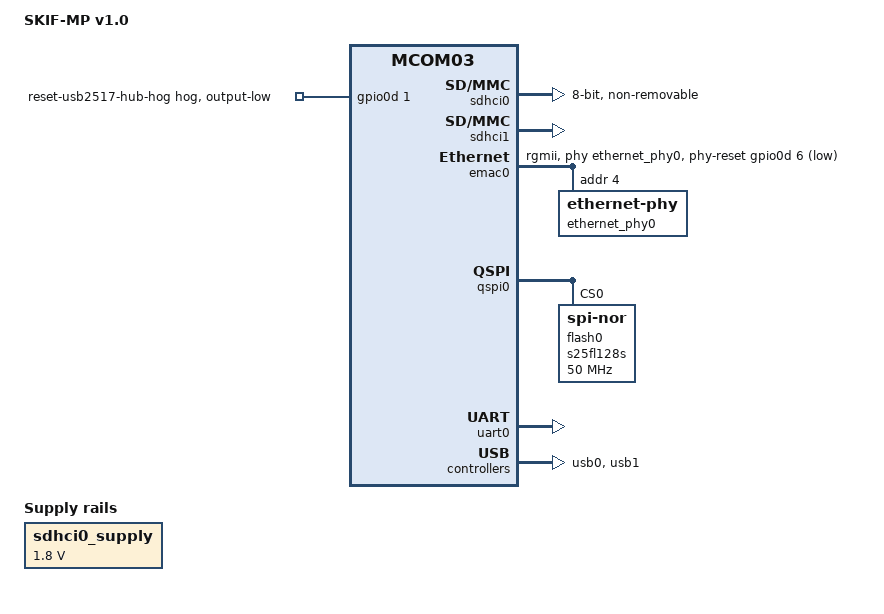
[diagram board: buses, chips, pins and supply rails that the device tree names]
// SPDX-License-Identifier: GPL-2.0+
/*
 * Copyright 2023 RnD Center "ELVEES", JSC
 */

/dts-v1/;

#include <dt-bindings/gpio/gpio.h>
#include <dt-bindings/net/ti-dp83867.h>

#include "mcom03.dtsi"

/ {
	model = "SKIF-MP v1.0";
	compatible = "elvees,skifmp-v1.0",
		     "elvees,skifmp",
		     "elvees,mcom03";

	sdhci0_supply: regulator@0 {
		compatible = "regulator-fixed";
		regulator-name = "sdhci0-supply";
		regulator-min-microvolt = <1800000>;
		regulator-max-microvolt = <1800000>;
		regulator-always-on;
	};

	chosen {
		stdout-path = "serial0:115200n8";
	};
};

&gpio0d {
	reset-usb2517-hub-hog {
		gpio-hog;
		gpios = <1 GPIO_ACTIVE_HIGH>;
		output-low;
	};
};

/* Connected to eMMC */
&sdhci0 {
	status = "okay";

	non-removable;
	bus-width = <8>;

	vqmmc-supply = <&sdhci0_supply>;
};

/* Connected to MicroSD card */
&sdhci1 {
	status = "okay";

	max-frequency = <12000000>;

	/* Disable High Speed support
	 * Disable 1.8V support
	 * Disable SDR50, SDR104 and DDR50 support
	 */
	sdhci-caps-mask = <0x7 0x4200000>;
	sdhci-caps = <0x0 0x0>;

	disable-wp;
};

/* Connected to RJ-45 */
&emac0 {
	status = "okay";

	phy-mode = "rgmii";
	phy-handle = <&ethernet_phy0>;
	clocks = <&eth_bus_clk>;
	phy-reset-gpios = <&gpio0d 6 GPIO_ACTIVE_LOW>;
	elvees,pads-1v8-en;

	/* TODO: Remove this extra PHY reset cycle.
	 * DP83867 has to be reset twice on this module.
	 * The reason is currently unknown.
	 */
	elvees,extra-phy-reset-cycle;

	ethernet_phy0: ethernet-phy@4 {
		reg = <0x4>;
		ti,rx-internal-delay = <DP83867_RGMIIDCTL_2_00_NS>;
		ti,tx-internal-delay = <DP83867_RGMIIDCTL_2_00_NS>;
		ti,fifo-depth = <DP83867_PHYCR_FIFO_DEPTH_4_B_NIB>;
	};
};

&qspi0 {
	status = "okay";

	flash0: s25fl128s@0 {
		#address-cells = <1>;
		#size-cells = <1>;
		compatible = "jedec,spi-nor", "spi-flash";
		reg = <0x0>;
		/* This is the highest frequency at which all commands are
		 * supported by the flash device.
		 */
		spi-max-frequency = <50000000>;

		spi-tx-bus-width = <4>;
		spi-rx-bus-width = <4>;
	};
};

/* Connected to Raspberry Pi header */
&uart0 {
	status = "okay";
	clock-frequency = <27920454>;
};

/* Connected to USB 3.0 Type-A */
&usb0 {
	status = "okay";
};

/* Connected to USB hub on SKIF-MP */
&usb1 {
	status = "okay";
};
